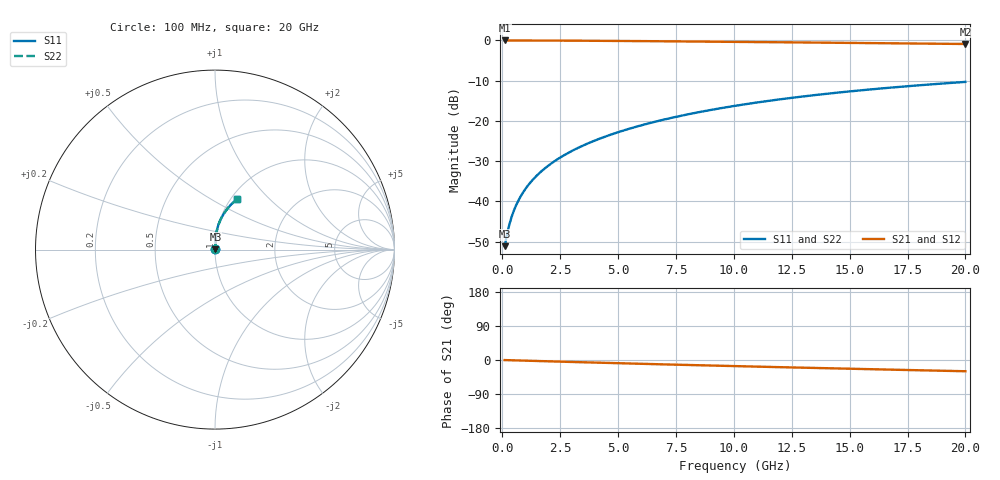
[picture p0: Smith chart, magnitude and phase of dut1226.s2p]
! Touchstone file exported from HFSS 2024.1.0
!  File:  C:/UserFiles/LocalFiles/RDL_TSV_Batchsim/temp_RDL_top_1226_1780240444.aedt
!  Generated:  11:16:15 PM May 31, 2026
!  Design:  RDL_top
!  Project:  temp_RDL_top_1226_1780240444
!  Setup:  Setup1
!  Solution:  Sweep
! Variables:
!  dtsv = 10.80580581um
!  hbump = 3um
!  htsv = 89.44um
!  ldown = 100um
!  lrdl = 373.77um
!  p = 40
!  p1 = 55.4um
!  rhole = 1um
!  t = 450um
!  tdown = 3.915915916um
!  trdl = 2.77um
!  wdown = 15.38538539um
!  wrdl = 23.29um
# GHz S MA R 50.000000
! Terminal data exported
! Port[1] = Box2_T1
! Port[2] = Box2_T2
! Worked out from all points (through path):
!   200 points, 100 MHz to 20 GHz, reference 50 ohm
!   highest |S21| = -0.02 dB at 100 MHz (marker M1); lowest = -0.9 dB at 20 GHz (marker M2)
!   group delay of S21, straight-line fit = 4.09 ps
!   lowest |S11| = -51.1 dB at 100 MHz (marker M3), VSWR 1.01, Z = 50.2 + j0.152 ohm
!   |S11| at or under -10 dB: start of sweep to end of sweep
!   |S22| runs from -51.1 to -10.3 dB; largest |S21 - S12| = 3.5e-15
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0.1  0.002779 33.0  0.9977 -0.2  0.9977 -0.2  0.002779 33.0
! Gamma 0 0 0 0
! Port Impedance 50 0 50 0
0.2  0.003844 51.2  0.9976 -0.4  0.9976 -0.4  0.003844 51.2
0.3  0.005093 60.6  0.9974 -0.5  0.9974 -0.5  0.005094 60.6
0.4  0.006389 66.0  0.9973 -0.7  0.9973 -0.7  0.006389 66.0
0.5  0.007695 69.6  0.9972 -0.9  0.9972 -0.9  0.007695 69.6
0.6  0.009006 72.3  0.997 -1.1  0.997 -1.1  0.009006 72.3
0.8  0.01164 75.9  0.9968 -1.4  0.9968 -1.4  0.01164 75.9
1.1  0.01564 79.3  0.9963 -1.9  0.9963 -1.9  0.01564 79.3
1.3  0.01835 80.8  0.996 -2.3  0.996 -2.3  0.01835 80.8
1.6  0.02245 82.4  0.9955 -2.8  0.9955 -2.8  0.02245 82.4
2.1  0.0294 84.1  0.9944 -3.7  0.9944 -3.7  0.02939 84.1
2.7  0.03791 85.3  0.9928 -4.7  0.9928 -4.7  0.03791 85.3
3.5  0.04958 86.0  0.9902 -6.0  0.9902 -6.0  0.04957 86.0
4.2  0.06006 86.2  0.9875 -7.2  0.9875 -7.2  0.06005 86.2
5  0.07234 86.1  0.9841 -8.5  0.9841 -8.5  0.07233 86.1
5.9  0.08648 85.6  0.9799 -9.9  0.9799 -9.9  0.08646 85.6
6.8  0.1009 84.8  0.9755 -11.3  0.9755 -11.3  0.1009 84.8
8.4  0.1269 83.1  0.9672 -13.7  0.9672 -13.7  0.1268 83.1
10.1  0.1547 80.8  0.958 -16.2  0.958 -16.2  0.1546 80.8
13.4  0.2076 76.1  0.9398 -20.9  0.9398 -20.9  0.2075 76.0
16.7  0.2579 71.2  0.9211 -25.4  0.9211 -25.4  0.2578 71.2
20  0.3049 66.5  0.9019 -29.7  0.9019 -29.7  0.3047 66.5
